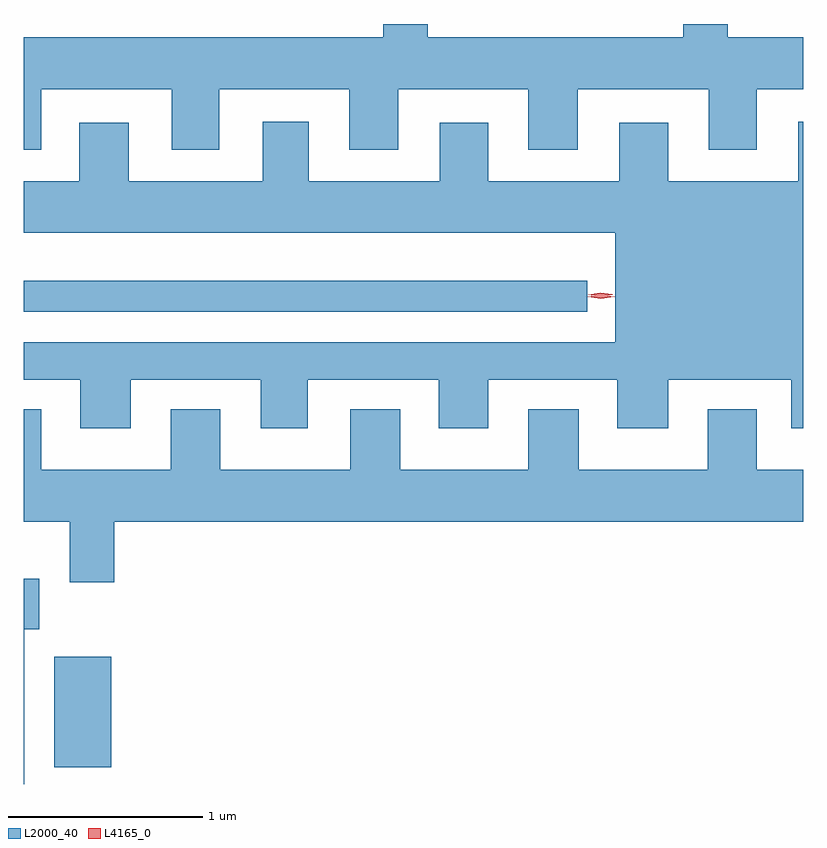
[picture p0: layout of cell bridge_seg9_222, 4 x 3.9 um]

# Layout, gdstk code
import gdstk
lib = gdstk.Library(unit=1e-6, precision=1e-09)
def R(c, l, rs):  # rectangles x0, y0, x1, y1
    for r in rs: c.add(gdstk.rectangle(r[:2], r[2:], *l))
def P(c, l, *ps):  # polygons
    for p in ps: c.add(gdstk.Polygon(p, *l))
L2000_40 = (2000, 40)
L4165_0 = (4165, 0)

bridge_seg9_222 = lib.new_cell('bridge_seg9_222')
R(bridge_seg9_222, L2000_40, [(1319.311,1981.676,1319.604,1982.244), (1319.156,1984.016,1322.048,1984.174)])
P(bridge_seg9_222, L2000_40, [(1319.244,1985.156),(1319.916,1985.156),(1319.916,1984.846),(1320.159,1984.846),(1320.159,1985.156),(1320.826,1985.156),(1320.826,1984.846),(1321.079,1984.846),(1321.079,1985.156),(1321.746,1985.156),(1321.746,1984.846),(1321.999,1984.846),(1321.999,1985.156),(1322.671,1985.156),(1322.671,1984.846),(1322.919,1984.846),(1322.919,1985.156),(1323.156,1985.156),(1323.156,1985.424),(1322.769,1985.424),(1322.769,1985.492),(1322.541,1985.492),(1322.541,1985.424),(1321.229,1985.424),(1321.229,1985.492),(1321.001,1985.492),(1321.001,1985.424),(1319.156,1985.424),(1319.156,1984.846),(1319.244,1984.846)],
  [(1319.704,1983.666),(1320.371,1983.666),(1320.371,1983.416),(1320.614,1983.416),(1320.614,1983.666),(1321.286,1983.666),(1321.286,1983.416),(1321.539,1983.416),(1321.539,1983.666),(1322.201,1983.666),(1322.201,1983.416),(1322.464,1983.416),(1322.464,1983.666),(1323.096,1983.666),(1323.096,1983.416),(1323.156,1983.416),(1323.156,1984.989),(1323.131,1984.989),(1323.131,1984.684),(1322.464,1984.684),(1322.464,1984.984),(1322.211,1984.984),(1322.211,1984.684),(1321.539,1984.684),(1321.539,1984.984),(1321.291,1984.984),(1321.291,1984.684),(1320.619,1984.684),(1320.619,1984.989),(1320.381,1984.989),(1320.381,1984.684),(1319.694,1984.684),(1319.694,1984.984),(1319.441,1984.984),(1319.441,1984.684),(1319.156,1984.684),(1319.156,1984.421),(1322.191,1984.421),(1322.191,1983.859),(1319.156,1983.859),(1319.156,1983.666),(1319.446,1983.666),(1319.446,1983.416),(1319.704,1983.416)],
  [(1319.619,1982.936),(1323.156,1982.936),(1323.156,1983.204),(1322.919,1983.204),(1322.919,1983.514),(1322.666,1983.514),(1322.666,1983.204),(1322.004,1983.204),(1322.004,1983.514),(1321.746,1983.514),(1321.746,1983.204),(1321.089,1983.204),(1321.089,1983.514),(1320.831,1983.514),(1320.831,1983.204),(1320.164,1983.204),(1320.164,1983.514),(1319.911,1983.514),(1319.911,1983.204),(1319.244,1983.204),(1319.244,1983.514),(1319.156,1983.514),(1319.156,1982.936),(1319.391,1982.936),(1319.391,1982.626),(1319.619,1982.626)],
  [(1319.159,1982.386),(1319.234,1982.386),(1319.234,1982.644),(1319.156,1982.644),(1319.156,1981.591),(1319.159,1981.591)])
P(bridge_seg9_222, L4165_0, [(1322.118,1984.082),(1322.05,1984.092),(1322.05,1984.092),(1322.05,1984.093),(1322.119,1984.102),(1322.187,1984.093),(1322.188,1984.092),(1322.187,1984.092)],
  [(1322.116,1984.093),(1322.053,1984.102),(1322.053,1984.103),(1322.053,1984.103),(1322.115,1984.113),(1322.177,1984.104),(1322.178,1984.103),(1322.177,1984.103)])

lib.write_gds('bridge_seg9_222.gds')
